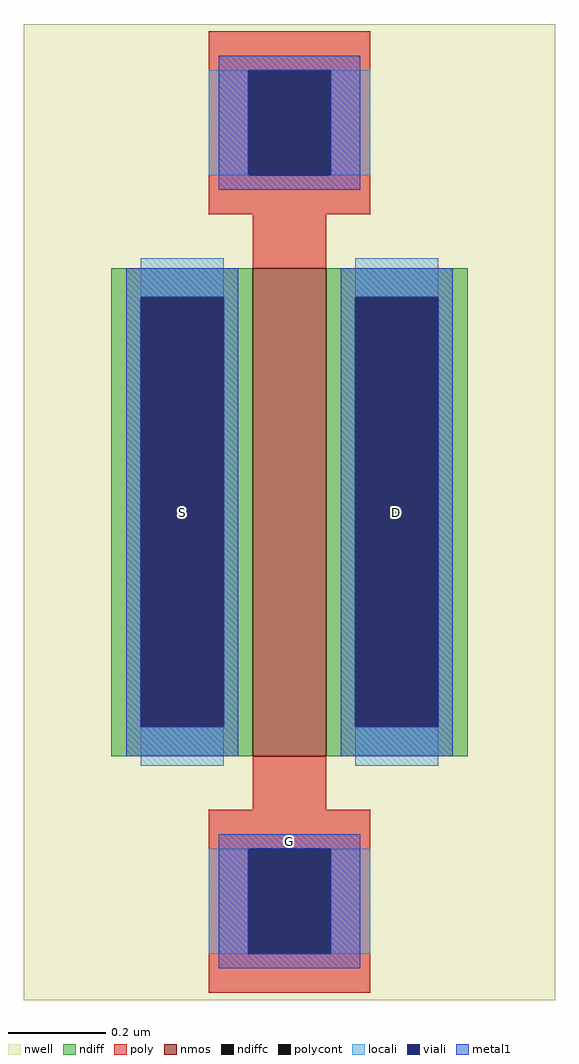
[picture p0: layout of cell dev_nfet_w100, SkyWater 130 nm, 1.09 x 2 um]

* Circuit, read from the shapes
.subckt dev_nfet_w100 G S D
XM1 D G S VSUBS sky130_fd_pr__nfet_01v8 w=1 l=0.15
.ends

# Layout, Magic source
magic
tech sky130B
magscale 1 2
<< nwell >>
rect -109 -200 109 200
<< nmos >>
rect -15 -100 15 100
<< ndiff >>
rect -73 88 -15 100
rect -73 -88 -61 88
rect -27 -88 -15 88
rect -73 -100 -15 -88
rect 15 88 73 100
rect 15 -88 27 88
rect 61 -88 73 88
rect 15 -100 73 -88
<< ndiffc >>
rect -61 -88 -27 88
rect 27 -88 61 88
<< poly >>
rect -33 181 33 197
rect -33 138 -17 181
rect 17 138 33 181
rect -33 122 33 138
rect -15 100 15 122
rect -15 -122 15 -100
rect -33 -138 33 -122
rect -33 -181 -17 -138
rect 17 -181 33 -138
rect -33 -197 33 -181
<< polycont >>
rect -17 138 17 181
rect -17 -181 17 -138
<< locali >>
rect -33 138 -17 181
rect 17 138 33 181
rect -61 88 -27 104
rect -61 -104 -27 -88
rect 27 88 61 104
rect 27 -104 61 -88
rect -33 -181 -17 -138
rect 17 -181 33 -138
<< viali >>
rect -17 138 17 181
rect -61 -88 -27 88
rect 27 -88 61 88
rect -17 -181 17 -138
<< metal1 >>
rect -29 181 29 187
rect -29 138 -17 181
rect 17 138 29 181
rect -29 132 29 138
rect -67 88 -21 100
rect -67 -88 -61 88
rect -27 -88 -21 88
rect -67 -100 -21 -88
rect 21 88 67 100
rect 21 -88 27 88
rect 61 -88 67 88
rect 21 -100 67 -88
rect -29 -138 29 -132
rect -29 -181 -17 -138
rect 17 -181 29 -138
rect -29 -187 29 -181
<< labels >>
flabel metal1 s -29 -138 29 -132 0 FreeSans 16 0 0 0 G
port 0 nsew
flabel metal1 s -67 -50 -21 50 0 FreeSans 16 0 0 0 S
port 1 nsew
flabel metal1 s 21 -50 67 50 0 FreeSans 16 0 0 0 D
port 2 nsew
<< end >>
